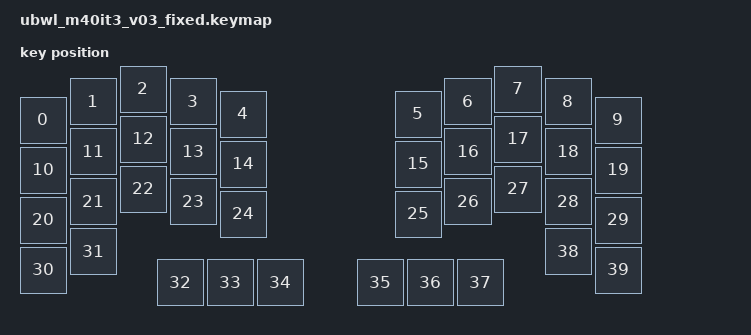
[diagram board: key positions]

#include <physical_layouts.dtsi>
/ {
    physical_layout0: physical_layout0 {
        compatible = "zmk,physical-layout";
        display-name = "Layout";
        keys
            = <&key_physical_attrs 100 100 (-50) 150 0 0 0>
			,<&key_physical_attrs 100 100 50 113 0 0 0>
			,<&key_physical_attrs 100 100 150 88 0 0 0>
			,<&key_physical_attrs 100 100 250 113 0 0 0>
			,<&key_physical_attrs 100 100 350 138 0 0 0>
			,<&key_physical_attrs 100 100 700 138 0 0 0>
			,<&key_physical_attrs 100 100 800 113 0 0 0>
			,<&key_physical_attrs 100 100 900 88 0 0 0>
			,<&key_physical_attrs 100 100 1000 113 0 0 0>
			,<&key_physical_attrs 100 100 1100 150 0 0 0>
			,<&key_physical_attrs 100 100 (-50) 250 0 0 0>
			,<&key_physical_attrs 100 100 50 213 0 0 0>
			,<&key_physical_attrs 100 100 150 188 0 0 0>
			,<&key_physical_attrs 100 100 250 213 0 0 0>
			,<&key_physical_attrs 100 100 350 238 0 0 0>
			,<&key_physical_attrs 100 100 700 238 0 0 0>
			,<&key_physical_attrs 100 100 800 213 0 0 0>
			,<&key_physical_attrs 100 100 900 188 0 0 0>
			,<&key_physical_attrs 100 100 1000 213 0 0 0>
			,<&key_physical_attrs 100 100 1100 250 0 0 0>
			,<&key_physical_attrs 100 100 (-50) 350 0 0 0>
			,<&key_physical_attrs 100 100 50 313 0 0 0>
			,<&key_physical_attrs 100 100 150 288 0 0 0>
			,<&key_physical_attrs 100 100 250 313 0 0 0>
			,<&key_physical_attrs 100 100 350 338 0 0 0>
			,<&key_physical_attrs 100 100 700 338 0 0 0>
			,<&key_physical_attrs 100 100 800 313 0 0 0>
			,<&key_physical_attrs 100 100 900 288 0 0 0>
			,<&key_physical_attrs 100 100 1000 313 0 0 0>
			,<&key_physical_attrs 100 100 1100 350 0 0 0>
			,<&key_physical_attrs 100 100 (-50) 450 0 0 0>
			,<&key_physical_attrs 100 100 50 413 0 0 0>
			,<&key_physical_attrs 100 100 225 475 0 0 0>
			,<&key_physical_attrs 100 100 325 475 0 0 0>
			,<&key_physical_attrs 100 100 425 475 0 0 0>
			,<&key_physical_attrs 100 100 625 475 0 0 0>
			,<&key_physical_attrs 100 100 725 475 0 0 0>
			,<&key_physical_attrs 100 100 825 475 0 0 0>
			,<&key_physical_attrs 100 100 1000 413 0 0 0>
			,<&key_physical_attrs 100 100 1100 450 0 0 0>
            ;
    };
};
    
